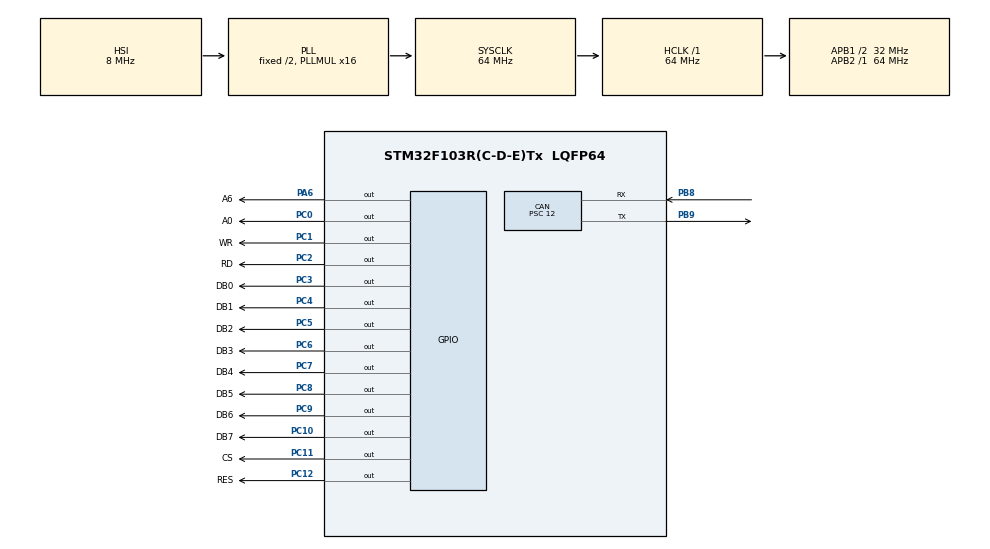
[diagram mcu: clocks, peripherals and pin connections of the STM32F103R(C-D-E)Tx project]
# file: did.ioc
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CAN.BS1=CAN_BS1_13TQ
CAN.BS2=CAN_BS2_2TQ
CAN.CalculateBaudRate=166666
CAN.CalculateTimeBit=6000
CAN.CalculateTimeQuantum=375.0
CAN.Prescaler=12
Mcu.Family=STM32F1
Mcu.Name=STM32F103R(C-D-E)Tx
Mcu.Package=LQFP64
NVIC.PriorityGroup=NVIC_PRIORITYGROUP_4
NVIC.USB_LP_CAN1_RX0_IRQn=true\:0\:0\:false\:false\:true\:true\:true
PA13.Mode=Serial_Wire
PA13.Signal=SYS_JTMS-SWDIO
PA14.Mode=Serial_Wire
PA14.Signal=SYS_JTCK-SWCLK
PA6.GPIO_Label=A6
PA6.GPIO_PuPd=GPIO_PULLDOWN
PA6.Signal=GPIO_Output
PB8.Mode=CAN_Activate
PB8.Signal=CAN_RX
PB9.Mode=CAN_Activate
PB9.Signal=CAN_TX
PC0.GPIO_Label=A0
PC0.Signal=GPIO_Output
PC1.GPIO_Label=WR
PC1.Signal=GPIO_Output
PC10.GPIO_Label=DB7
PC10.Signal=GPIO_Output
PC11.GPIO_Label=CS
PC11.Signal=GPIO_Output
PC12.GPIO_Label=RES
PC12.Signal=GPIO_Output
PC2.GPIO_Label=RD
PC2.Signal=GPIO_Output
PC3.GPIO_Label=DB0
PC3.Signal=GPIO_Output
PC4.GPIO_Label=DB1
PC4.Signal=GPIO_Output
PC5.GPIO_Label=DB2
PC5.Signal=GPIO_Output
PC6.GPIO_Label=DB3
PC6.Signal=GPIO_Output
PC7.GPIO_Label=DB4
PC7.Signal=GPIO_Output
PC8.GPIO_Label=DB5
PC8.Signal=GPIO_Output
PC9.GPIO_Label=DB6
PC9.Signal=GPIO_Output
ProjectManager.HeapSize=0x200
ProjectManager.StackSize=0x400
ProjectManager.TargetToolchain=STM32CubeIDE
RCC.AHBFreq_Value=64000000
RCC.APB1CLKDivider=RCC_HCLK_DIV2
RCC.APB1Freq_Value=32000000
RCC.APB1TimFreq_Value=64000000
RCC.APB2Freq_Value=64000000
RCC.APB2TimFreq_Value=64000000
RCC.HCLKFreq_Value=64000000
RCC.PLLMUL=RCC_PLL_MUL16
RCC.SYSCLKFreq_VALUE=64000000
RCC.SYSCLKSource=RCC_SYSCLKSOURCE_PLLCLK
RCC.USBFreq_Value=64000000
board=custom

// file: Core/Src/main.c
/* USER CODE BEGIN Header */
/**
  ******************************************************************************
  * @file           : main.c
  * @brief          : Main program body
  ******************************************************************************
  * @attention
  *
  * <h2><center>&copy; Copyright (c) 2021 STMicroelectronics.
  * All rights reserved.</center></h2>
  *
  * This software component is licensed by ST under BSD 3-Clause license,
  * the "License"; You may not use this file except in compliance with the
  * License. You may obtain a copy of the License at:
  *                        opensource.org/licenses/BSD-3-Clause
  *
  ******************************************************************************
  */
/* USER CODE END Header */
#include "main.h"
#include "can.h"
#include "gpio.h"

/* USER CODE BEGIN Includes */

#include "LCD.h"

/* USER CODE END Includes */

/* USER CODE BEGIN PV */

// CAN filtering
CAN_FilterTypeDef CAN_filter0;
CAN_FilterTypeDef CAN_filter1;

// CAN receiving
uint8_t receive_flag = 0x00;
CAN_RxHeaderTypeDef CAN_rx_header;
uint8_t CAN_rx_data[8];

// Changing pages
uint8_t button_pressed = 0;
uint8_t timer_at_max = 0;

/* USER CODE END PV */

void SystemClock_Config(void);

/* USER CODE BEGIN 0 */

void HAL_CAN_RxFifo0MsgPendingCallback(CAN_HandleTypeDef *hcan) {
	// Set message flag to 1 so that the update display task can execute
	receive_flag = 0x01;
}

// Blink LED function for testing purposes
void blink_A6(int num, int delay)
{
	for (int i = 0; i < num; i++)
	{
		HAL_GPIO_WritePin(GPIOA, GPIO_PIN_6, 1);
		HAL_Delay(delay);
		HAL_GPIO_WritePin(GPIOA, GPIO_PIN_6, 0);
		HAL_Delay(delay);
	}
}

/* USER CODE END 0 */

int main(void)
{

    /* MCU Configuration--------------------------------------------------------*/

    /* Reset of all peripherals, Initializes the Flash interface and the Systick. */
    HAL_Init();

    /* Configure the system clock */
    SystemClock_Config();

    /* Initialize all configured peripherals */
    MX_GPIO_Init();
    MX_CAN_Init();
    /* USER CODE BEGIN 2 */

    // CAN initialization
    CanFilterSetup();
    HAL_CAN_Start(&hcan);

    // LCD initialization
    ScreenSetup();
    ClearScreen();
    DisplayScreen();

    /* USER CODE END 2 */

    /* Infinite loop */
    /* USER CODE BEGIN WHILE */
    while (1)
    {
        /*
        // Update page number value
        if (button_pressed == 1 || timer_at_max == 1) // TODO: make timer function (after x seconds, go back to home page)
        {
            if (page_num_val < PAGE_NUM_MAX)
            {
                page_num_val++;
            }
            else
            {
                page_num_val = 1;
            }

            button_pressed = 0;

            DisplayScreen(); // template page display logic moved temporarily into this function
        }
        */

        // Check if message is available
        if (HAL_CAN_GetRxFifoFillLevel(&hcan, CAN_RX_FIFO0) != 0)
        {
            // Populate CAN header and data variables
            HAL_CAN_GetRxMessage(&hcan, CAN_RX_FIFO0, &CAN_rx_header, CAN_rx_data);

            // Find the matching data that needs to be updated
            for (uint8_t struct_index = 0; struct_index < NUM_CAN_IDS; struct_index++)
            {
                if (DisplayDataArray[struct_index].can_id == CAN_rx_header.StdId)
                {
                    for (int data_index = 0; data_index < 8; data_index++)
                    {
                        DisplayDataArray[struct_index].raw_data[data_index] = CAN_rx_data[data_index];
                    }
                }
            }

            // Display screen with updated parameters
    		DisplayScreen();
        }

        // Displaying finished, wait for the next interrupt
        receive_flag = 0x00;

        /* USER CODE END WHILE */

    }
}

void SystemClock_Config(void)
{
  RCC_OscInitTypeDef RCC_OscInitStruct = {0};
  RCC_ClkInitTypeDef RCC_ClkInitStruct = {0};

  /** Initializes the RCC Oscillators according to the specified parameters
  * in the RCC_OscInitTypeDef structure.
  */
  RCC_OscInitStruct.OscillatorType = RCC_OSCILLATORTYPE_HSI;
  RCC_OscInitStruct.HSIState = RCC_HSI_ON;
  RCC_OscInitStruct.HSICalibrationValue = RCC_HSICALIBRATION_DEFAULT;
  RCC_OscInitStruct.PLL.PLLState = RCC_PLL_ON;
  RCC_OscInitStruct.PLL.PLLSource = RCC_PLLSOURCE_HSI_DIV2;
  RCC_OscInitStruct.PLL.PLLMUL = RCC_PLL_MUL16;
  if (HAL_RCC_OscConfig(&RCC_OscInitStruct) != HAL_OK)
  {
    Error_Handler();
  }
  /** Initializes the CPU, AHB and APB buses clocks
  */
  RCC_ClkInitStruct.ClockType = RCC_CLOCKTYPE_HCLK|RCC_CLOCKTYPE_SYSCLK
                              |RCC_CLOCKTYPE_PCLK1|RCC_CLOCKTYPE_PCLK2;
  RCC_ClkInitStruct.SYSCLKSource = RCC_SYSCLKSOURCE_PLLCLK;
  RCC_ClkInitStruct.AHBCLKDivider = RCC_SYSCLK_DIV1;
  RCC_ClkInitStruct.APB1CLKDivider = RCC_HCLK_DIV2;
  RCC_ClkInitStruct.APB2CLKDivider = RCC_HCLK_DIV1;

  if (HAL_RCC_ClockConfig(&RCC_ClkInitStruct, FLASH_LATENCY_2) != HAL_OK)
  {
    Error_Handler();
  }
}

void Error_Handler(void)
{
  __disable_irq();
  while (1)
  {
  }
}

/************************ (C) COPYRIGHT STMicroelectronics *****END OF FILE****/
